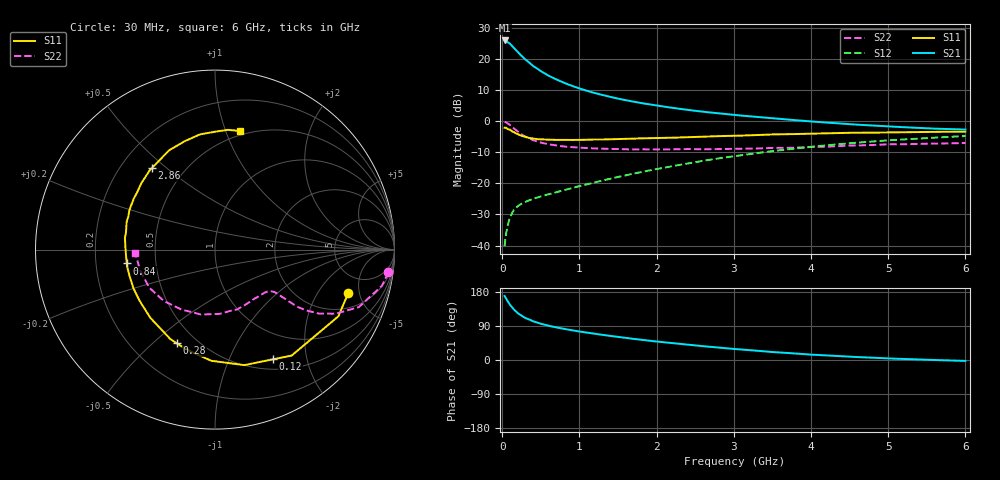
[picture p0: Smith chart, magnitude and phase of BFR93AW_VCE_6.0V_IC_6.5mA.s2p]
! Infineon Technologies  Discrete & RF Semiconductors
! BFR93AW
! VCE =  6.0 V,  IC =  6.5 mA
! Common Emitter S-Parameters:  Nov 2015
# GHz  S  MA  R  50
!  f  S11  S21  S12  S22
! GHz  MAG  ANG  MAG  ANG  MAG  ANG  MAG  ANG
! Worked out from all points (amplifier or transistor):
!   206 points, 30 MHz to 6 GHz, reference 50 ohm
!   highest |S21| = 25.9 dB at 30 MHz (marker M1)
!   |S21| within 3 dB of that: start of sweep to 173.7 MHz
!   unconditionally stable (mu >= 1): 875.4 MHz to 2.234 GHz
!   at 200 MHz: K = 0.37, MSG = 24.8 dB, |S12| = -27.4 dB
!   at 1.56 GHz: K = 1.07, MAG = 10.6 dB, |S12| = -17.6 dB
!   at 6 GHz: K = 0.91, MSG = 1.0 dB, |S12| = -4.8 dB
!   S11 on the Smith chart (normalised r, x): 30 MHz: 3.11, -3.87; 120 MHz: 0.63, -1.47; 280 MHz: 0.39, -0.60; 840 MHz: 0.34, -0.07; 2.86 GHz: 0.33, +0.45; 6 GHz: 0.46, +1.12
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0.03  0.7809 -18.1  19.65 168.8  0.0098 79.7  0.9747 -7.4
0.05  0.7814 -28.4  19.35 161.3  0.0159 76.6  0.952 -12.2
0.1  0.7286 -54.1  17.42 145.5  0.0287 65.2  0.8632 -21.8
0.12  0.6911 -62.2  16.34 140.9  0.0321 61.6  0.8211 -24.1
0.15  0.6642 -75.7  14.95 132.9  0.0375 57.4  0.7608 -28.0
0.2  0.6198 -91.9  12.85 123.6  0.0428 52.6  0.6777 -31.7
0.24  0.5851 -102.8  11.41 117.9  0.0463 50.6  0.6229 -33.3
0.28  0.5636 -112.1  10.23 113.1  0.0492 49.6  0.5805 -34.3
0.3  0.5568 -116.6  9.69 110.6  0.0506 49.3  0.5613 -34.7
0.4  0.5237 -133.4  7.645 102.0  0.0565 48.9  0.4918 -35.1
0.5  0.5079 -145.8  6.309 95.5  0.0617 49.9  0.4487 -35.2
0.6  0.503 -154.7  5.338 90.3  0.0667 51.9  0.4235 -35.2
0.7  0.4983 -162.2  4.648 86.0  0.0722 53.8  0.405 -35.6
0.84  0.4974 -171.1  3.925 80.7  0.0803 56.3  0.3865 -37.0
1.04  0.4987 179.2  3.212 73.9  0.0928 59.8  0.3714 -39.3
1.5  0.5157 162.7  2.284 60.9  0.1266 64.5  0.3556 -48.0
2.02  0.5345 147.4  1.757 48.3  0.1712 66.2  0.3507 -60.5
2.86  0.5742 127.9  1.307 31.8  0.2575 63.3  0.3557 -82.6
3.1  0.5838 122.7  1.222 27.7  0.2829 61.5  0.3591 -89.5
4.1  0.63 103.9  0.964 13.2  0.3961 51.7  0.3848 -122.5
5.1  0.6584 89.1  0.808 3.4  0.4982 39.3  0.4229 -152.9
6  0.6754 78.0  0.729 -2.4  0.5746 28.2  0.4454 -177.9
